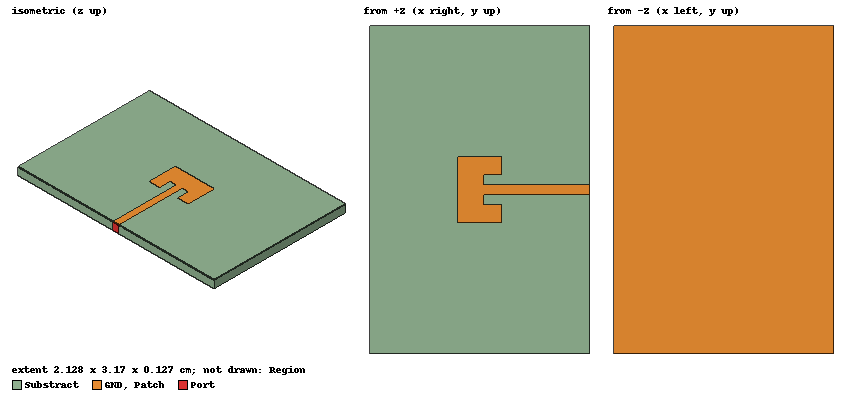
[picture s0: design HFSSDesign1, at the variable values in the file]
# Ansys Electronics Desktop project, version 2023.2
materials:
  vacuum: permittivity=1
  Sub: permittivity=10.2 dielectric_loss_tangent=0.003 magnetic_loss_tangent=0.003
  air: permittivity=1.0006 permeability=1.0000004

design HFSSDesign1 (HFSS, HFSS Modal Network, model units cm)
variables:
  W = 0.6339cm
  L = 0.4255cm
  h = 0.127cm
  epsilon = 10.2
  f = 10GHz
  W0 = 0.0966cm
  y0 = 0.1713cm
  WT = 0.0966cm
  WC = 0.966cm
  x0 = W/2
  lambda = 3cm
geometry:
  Substract [Sub] = box(corner=(-5*L/2, -5*W/2, 0cm), size=(5*L, 5*W, h))
  GND [Sub] = object_from(Substract.face(-z))
  Patch = rectangle(corner=(-L/2, -W/2, h), x_size=L, y_size=W)
  Transition = rectangle(corner=(L/2-y0, -W0/2, h), x_size=lambda/4, y_size=W0)
  Microstrip = rectangle(corner=(L/2-y0+lambda/4, -W0/2, h), x_size=5*L/2-( L/2-y0+lambda/4), y_size=W0)
  Patch.unite(Microstrip, Transition)
  Cut1 = rectangle(corner=(L/2-y0, -3*W0/2, h), x_size=y0, y_size=W0)
  Cut2 = rectangle(corner=(L/2-y0, W0/2, h), x_size=y0, y_size=W0)
  Patch.subtract(Cut1, Cut2)
  Region [air] = region(absolute_offset=lambda/4 on all sides)
  Port = rectangle(corner=(5*L/2, -W0/2, h), y_size=W0, z_size=-h)
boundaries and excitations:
  PerfE1: Perfect E Objects=GND
  PerfE2: Perfect E Objects=Patch
  Rad1: Radiation Objects=Region
  1: Lumped Port Objects=Port LumpedPortType=Modal Modes{Mode1{IntLine{(1.06375, 0, 0) -> (1.06375, 0, 0.127)} CharImp=Zpi}} Impedance=50ohm
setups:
  Setup1: HfssDriven Frequency=10GHz MaxDeltaS=0.02 MaximumPasses=20 MinimumPasses=1 MinimumConvergedPasses=1 PercentRefinement=30 BasisOrder=1 PortAccuracy=2 DrivenSolverType="Direct Solver"
    sweep Sweep: 8GHz to 14GHz, 6000 points; Type=Interpolating InterpTolerance=0.5 InterpMaxSolns=250 InterpUsePortImped=false PassivityErrorTolerance=0.0001
  Setup2: HfssDriven Frequency=9.4882GHz MaxDeltaS=0.02 MaximumPasses=20 MinimumPasses=1 MinimumConvergedPasses=1 PercentRefinement=30 BasisOrder=1 PortAccuracy=2 DrivenSolverType="Direct Solver"
    sweep Sweep: 8GHz to 14GHz, 6000 points; Type=Interpolating InterpTolerance=0.5 InterpMaxSolns=250 InterpUsePortImped=false PassivityErrorTolerance=0.0001
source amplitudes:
  1:1: 1W 0deg
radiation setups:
  E_Plane: Infinite Sphere Theta=0deg..360deg step 1deg Phi=0deg..0deg step 0deg
  3D_Plane: Infinite Sphere Theta=0deg..180deg step 2deg Phi=-180deg..180deg step 2deg
  H_Plane: Infinite Sphere Theta=90deg..90deg step 0deg Phi=0deg..360deg step 1deg
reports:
  Z Parameter Plot 1: re(Z(1,1)), im(Z(1,1)) vs Freq on Setup1 : Sweep
  VSWR Plot 1: VSWR(1) vs Freq on Setup1 : Sweep
  Gain Plot 2: dB(GainTotal) vs Phi, Theta on Setup1 : LastAdaptive, 3D_Plane [Freq=10GHz]
  S Parameter Plot 1: dB(S(1,1)) vs Freq on Setup1 : Sweep
  Gain Plot 3: dB(GainTotal) vs Theta on Setup1 : LastAdaptive, E_Plane [Phi=all Freq=10GHz]
  S Parameter Plot 2: dB(S(1,1)) vs Freq on Setup2 : Sweep
  VSWR Plot 2: VSWR(1) vs Freq on Setup2 : Sweep
  Z Parameter Plot 2: re(Z(1,1)), im(Z(1,1)) vs Freq on Setup2 : Sweep
  Gain Plot 4: dB(GainTotal) vs Theta on Setup2 : LastAdaptive, E_Plane [Phi=all Freq=9.4882GHz]
  Gain Plot 5: dB(GainTotal) vs Phi, Theta on Setup2 : LastAdaptive, 3D_Plane [Freq=9.4882GHz]
  Gain Plot 6: dB(GainTotal) vs Phi on Setup1 : LastAdaptive, H_Plane [Theta=all Freq=10GHz]
  Gain Plot 7: dB(GainTotal) vs Phi on Setup2 : LastAdaptive, H_Plane [Theta=all Freq=9.4882GHz]
